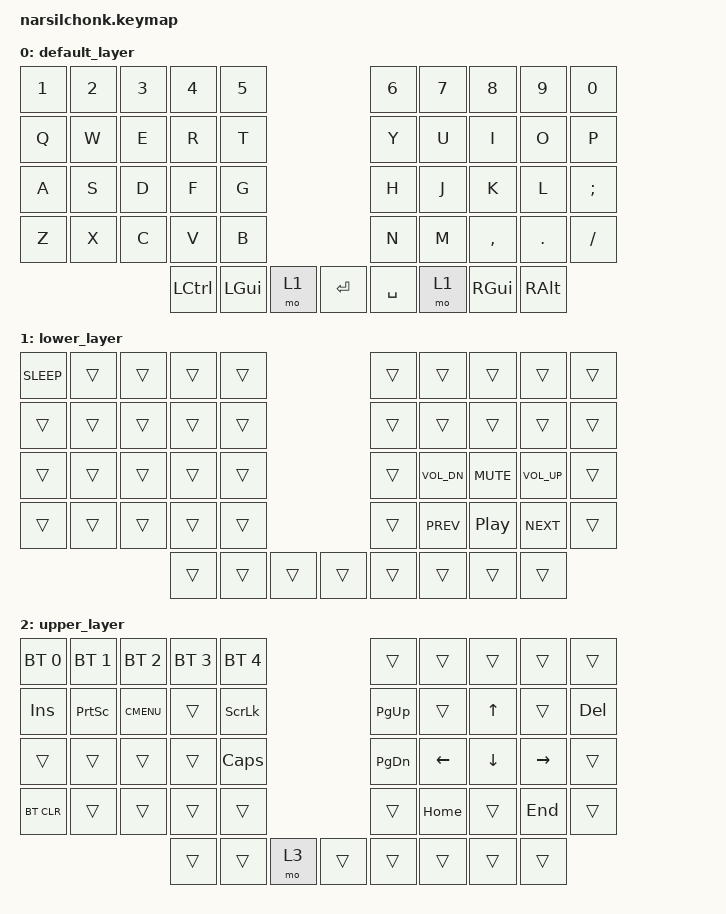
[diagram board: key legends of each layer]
#include <behaviors.dtsi>
#include <dt-bindings/zmk/keys.h>
#include <dt-bindings/zmk/bt.h>
#include <dt-bindings/zmk/backlight.h>
#include <dt-bindings/zmk/outputs.h>
#include <dt-bindings/zmk/keys.h>
/ {
    keymap {
        compatible = "zmk,keymap";

        default_layer {
          // ,-----------------------------------------.               ,-----------------------------------------.
          // |  `   |  1   |  2   |  3   |  4   |  5   |               |  6   |  7   |  8   |  9   |  0   |  -   |
          // |------+------+------+------+------+------|               |------+------+------+------+------+------|
          // | Esc  |  Q   |  W   |  E   |  R   |  T   |               |  Y   |  U   |  I   |  O   |  P   | BSPC |
          // |------+------+------+------+------+------|               |------+------+------+------+------+------|
          // | Tab  |  A   |  S   |  D   |  F   |  G   |               |  H   |  J   |  K   |  L   |  ;   |  '   |
          // |------+------+------+------+------+------+------. .------+------+------+------+------+------+------|
          // | Shift|  Z   |  X   |  C   |  V   |  B   |      | |      |  N   |  M   |  ,   |  .   |  /   | Shift|
          // `-------------+------+------+------+------| Enter| | Space|------+------+------+------+------+------'
          //               | Ctrl | Alt  | Cmd  | Lower|      | |      | Raise| Cmd  | Alt  | Ctrl |
          //               `----------------------------------' '----------------------------------'
          bindings = <
            &kp N1 &kp N2    &kp N3   &kp N4    &kp N5                                   &kp N6 &kp N7   &kp N8    &kp N9    &kp N0   
            &kp Q  &kp W     &kp E    &kp R     &kp T                                    &kp Y  &kp U    &kp I     &kp O     &kp P    
            &kp A  &kp S     &kp D    &kp F     &kp G                                    &kp H  &kp J    &kp K     &kp L     &kp SEMI 
            &kp Z  &kp X     &kp C    &kp V     &kp B                                    &kp N  &kp M    &kp COMMA &kp DOT   &kp FSLH 
                                      &kp LCTRL &kp LGUI &mo 1  &kp RET &kp SPACE &mo 1  &kp RGUI &kp RALT
          >;
        };

        lower_layer {
          // ,-----------------------------------------.               ,-----------------------------------------.
          // |      |  F1  |  F2  |  F3  |  F4  |  F5  |               |  F6  |  F7  |  F8  |  F9  | F10  | F11  |
          // |------+------+------+------+------+------|               |------+------+------+------+------+------|
          // |      |  1   |  2   |  3   |  4   |  5   |               |  6   |  7   |  8   |  9   |  0   | F12  |
          // |------+------+------+------+------+------|               |------+------+------+------+------+------|
          // |      |  !   |  @   |  #   |  $   |  %   |               |  ^   |  &   |  *   |  (   |  )   |  |   |
          // |------+------+------+------+------+------+------. .------+------+------+------+------+------+------|
          // |      |  =   |  -   |  +   |  {   |  }   |      | |      |  [   |  ]   |  ;   |  :   |  \   |      |
          // `-------------+------+------+------+------|      | |      |------+------+------+------+------+------'
          //               |      |      |      |      |      | |      | Raise|      |      |      |
          //               `----------------------------------' '----------------------------------'
          bindings = <
            &kp F1    &kp F2    &kp F3      &kp F4   &kp F5                                  &kp F6    &kp F7   &kp F8    &kp F9    &kp F10  
            &kp N1    &kp N2    &kp N3      &kp N4   &kp N5                                  &kp N6    &kp N7   &kp N8    &kp N9    &kp N0   
            &kp EXCL  &kp AT    &kp HASH    &kp DLLR &kp PRCNT                               &kp CARET &kp AMPS &kp ASTRK &kp LPAR  &kp RPAR 
            &kp EQUAL &kp MINUS &kp KP_PLUS &kp LBRC &kp RBRC                                &kp LBKT  &kp RBKT &kp SEMI  &kp COLON &kp BSLH 
                                            &trans   &trans  &trans &trans    &trans &mo 3   &trans   &trans    
          >;
        };

        upper_layer {
          // ,-----------------------------------------.               ,-----------------------------------------.
          // |BT CLR| BT1  | BT2  | BT3  | BT4  | BT5  |               |      |      |      |      |      |      |
          // |------+------+------+------+------+------|               |------+------+------+------+------+------|
          // |      | INS  | PSCRN| MENU |      | Scll |               | PG UP|      |  Up  |      |      | Del  |
          // |------+------+------+------+------+------|               |------+------+------+------+------+------|
          // |      |      |      |      |      | Caps |               | PG DN| Left | Down | Right|      |      |
          // |------+------+------+------+------+------+------. .------+------+------+------+------+------+------|
          // |      |      |      |      |      |      |      | |      |      | LStr |      | LEnd |      |      |
          // `-------------+------+------+------+------|      | |      |------+------+------+------+------+------'
          //               |      |      |      | Lower|      | |      |      |      |      |      |
          //               `----------------------------------' '----------------------------------'
          bindings = <
            &bt BT_SEL 0 &bt BT_SEL 1 &bt BT_SEL 2 &bt BT_SEL 3 &bt BT_SEL 4                    &trans    &trans   &trans   &trans    &trans
            &kp INS    &kp PSCRN    &kp K_CMENU  &trans       &kp SLCK                          &kp PG_UP &trans   &kp UP   &trans    &kp DEL
            &trans     &trans       &trans       &trans       &kp CLCK                          &kp PG_DN &kp LEFT &kp DOWN &kp RIGHT &trans
            &bt BT_CLR &trans       &trans       &trans       &trans                            &trans    &kp HOME &trans   &kp END   &trans
                                                 &trans       &trans &mo 3 &trans &trans &trans &trans    &trans
          >;
        };

        lower_layer {
          // ,-----------------------------------------.               ,-----------------------------------------.
          // |      |      |      |      |      |      |               |      |      |      |      |      |      |
          // |------+------+------+------+------+------|               |------+------+------+------+------+------|
          // | RESET|      |      |      |      |      |               |      |      |      |      |      |      |
          // |------+------+------+------+------+------|               |------+------+------+------+------+------|
          // |      |      |      |      |      |      |               |      | VolDn| Mute | VolUp|      |      |
          // |------+------+------+------+------+------+------. .------+------+------+------+------+------+------|
          // | MacSw|      |      |      |      |      |      | |      |      | Prev | Play | Next |      | WinSw|
          // `-------------+------+------+------+------|      | |      |------+------+------+------+------+------'
          //               |      |      |      |      |      | |      |      |      |      |      |
          //               `----------------------------------' '----------------------------------'
          bindings = <
              &kp K_SLEEP &trans &trans &trans &trans                       &trans &trans       &trans     &trans       &trans
              &trans      &trans &trans &trans &trans                       &trans &trans       &trans     &trans       &trans
              &trans      &trans &trans &trans &trans                       &trans &kp C_VOL_DN &kp C_MUTE &kp C_VOL_UP &trans
              &trans      &trans &trans &trans &trans                       &trans &kp C_PREV   &kp C_PP   &kp C_NEXT   &trans
                                 &trans &trans &trans &trans &trans &trans  &trans &trans
            >;
          };
    };
};

&mt {
    quick-tap-ms = <100>;
    global-quick-tap;
    flavor = "tap-preferred";
    tapping-term-ms = <180>;
};


/ {
    macros {
        degree_sym: degree_sym {
            label = "Degree_symbol";
            compatible = "zmk,behavior-macro";
            #binding-cells = <0>;
            bindings =
                <&macro_tap_time 40>,
                <&macro_wait_time 40>,
                <&macro_press>,
                <&kp RALT>,
                <&macro_tap>,
                <&kp N2 &kp N4 &kp N8>,
                <&macro_pause_for_release>,
                <&macro_release>;

            tap-ms = <40>;
            wait-ms = <40>;
        };
        C_A_D: C_A_D {
            compatible = "zmk,behavior-macro";
            label = "Control Alt Delete";
            #binding-cells = <0>;
            bindings =
                <&macro_tap>,
                <&kp LA(LC(DEL))>,
                <&macro_pause_for_release>,
                <&macro_release>;

            tap-ms = <100>;
            wait-ms = <100>;
        };
        TM: TM {
            compatible = "zmk,behavior-macro";
            label = "TradeMark";
            #binding-cells = <0>;
            bindings =
                <&macro_press>,
                <&kp RALT>,
                <&macro_tap>,
                <&kp N0 &kp N1 &kp N5 &kp N3>,
                <&macro_pause_for_release>,
                <&macro_release>;

            tap-ms = <40>;
            wait-ms = <40>;
        };
        CircleR: CircleR {
            compatible = "zmk,behavior-macro";
            label = "CircleR";
            #binding-cells = <0>;
            bindings =
                <&macro_press>,
                <&kp RALT>,
                <&macro_tap>,
                <&kp KP_N1 &kp KP_N6 &kp KP_N9>,
                <&macro_release>,
                <&macro_release>;

            tap-ms = <40>;
            wait-ms = <40>;
        };
    };
};

/ {
    combos {
        compatible = "zmk,combos";

        combo_capslock {
            bindings = <&caps_word>;
            key-positions = <13 16>;
            layers = <0>;
        };
    };
};
/ {
    behaviors {
        pht: positional_hold_tap {
            compatible = "zmk,behavior-hold-tap";
            label = "POSITIONAL_HOLD_TAP";
            #binding-cells = <2>;
            flavor = "hold-preferred";
            tapping-term-ms = <400>;
            quick-tap-ms = <200>;
            bindings = <&kp>, <&kp>;
            hold-trigger-key-positions = <1>;    // <---[[the W key]]
        };
        gqt: global-quick-tap {
            compatible = "zmk,behavior-hold-tap";
            label = "GLOBAL_QUICK_TAP";
            #binding-cells = <2>;
            flavor = "tap-preferred";
            tapping-term-ms = <200>;
            quick-tap-ms = <125>;
            global-quick-tap;
            bindings = <&kp>, <&kp>;
        };
    };
/*&nice_view_spi {
  cs-gpios = <&gpio1 1 GPIO_ACTIVE_HIGH>;
};*/
